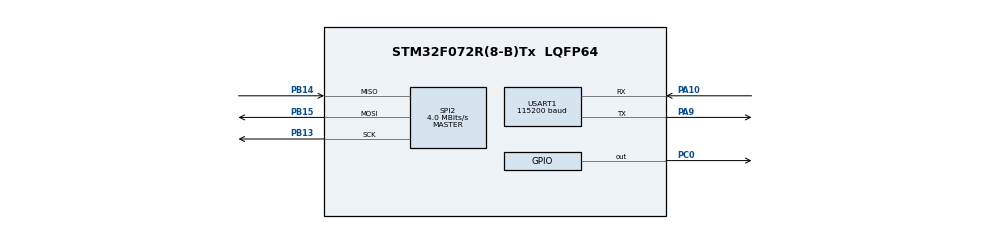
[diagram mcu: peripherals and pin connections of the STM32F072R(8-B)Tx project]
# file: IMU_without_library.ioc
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Mcu.Family=STM32F0
Mcu.Name=STM32F072R(8-B)Tx
Mcu.Package=LQFP64
NVIC.USART1_IRQn=true\:0\:0\:false\:false\:true\:true\:true\:true
PA10.Mode=Asynchronous
PA10.Signal=USART1_RX
PA9.Mode=Asynchronous
PA9.Signal=USART1_TX
PB13.Mode=Full_Duplex_Master
PB13.Signal=SPI2_SCK
PB14.Mode=Full_Duplex_Master
PB14.Signal=SPI2_MISO
PB15.Mode=Full_Duplex_Master
PB15.Signal=SPI2_MOSI
PC0.Signal=GPIO_Output
ProjectManager.HeapSize=0x200
ProjectManager.StackSize=0x400
ProjectManager.TargetToolchain=STM32CubeIDE
SPI2.CalculateBaudRate=4.0 MBits/s
SPI2.DataSize=SPI_DATASIZE_8BIT
SPI2.Direction=SPI_DIRECTION_2LINES
SPI2.Mode=SPI_MODE_MASTER
SPI2.VirtualType=VM_MASTER
USART1.BaudRate=115200
USART1.VirtualMode-Asynchronous=VM_ASYNC
board=custom

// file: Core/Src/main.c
/* USER CODE BEGIN Header */
/**
  ******************************************************************************
  * @file           : main.c
  * @brief          : Main program body
  ******************************************************************************
  * @attention
  *
  * Copyright (c) 2023 STMicroelectronics.
  * All rights reserved.
  *
  * This software is licensed under terms that can be found in the LICENSE file
  * in the root directory of this software component.
  * If no LICENSE file comes with this software, it is provided AS-IS.
  *
  ******************************************************************************
  */
/* USER CODE END Header */
#include "main.h"

/* USER CODE BEGIN Includes */
#include <string.h>
#include <stdio.h>
/* USER CODE END Includes */

SPI_HandleTypeDef hspi2;

UART_HandleTypeDef huart1;

/* USER CODE BEGIN PV */
void delay(volatile uint32_t count) {
    while(count--);
}

uint8_t SPI_WriteReadByte(SPI_HandleTypeDef *hspi, uint8_t data) {
    uint8_t rx_data;
    HAL_SPI_TransmitReceive(hspi, &data, &rx_data, 1, 100);
    return rx_data;
}

void L3GD20_Init(SPI_HandleTypeDef *hspi, GPIO_TypeDef *CS_GPIO_Port, uint16_t CS_Pin) {
    HAL_GPIO_WritePin(CS_GPIO_Port, CS_Pin, GPIO_PIN_RESET);
    delay(1000);

    uint8_t ctrl1 = 0x0F;
    SPI_WriteReadByte(hspi, 0x20);
    SPI_WriteReadByte(hspi, ctrl1);

    HAL_GPIO_WritePin(CS_GPIO_Port, CS_Pin, GPIO_PIN_SET);
    delay(1000);
}

void L3GD20_ReadGyro(SPI_HandleTypeDef *hspi, GPIO_TypeDef *CS_GPIO_Port, uint16_t CS_Pin, int16_t *gx, int16_t *gy, int16_t *gz) {
    uint8_t raw_data[6];

    HAL_GPIO_WritePin(CS_GPIO_Port, CS_Pin, GPIO_PIN_RESET);
    delay(1000);

    SPI_WriteReadByte(hspi, 0x80 | 0x28);
    for(int i = 0; i < 6; i++) {
        raw_data[i] = SPI_WriteReadByte(hspi, 0x00);
    }

    HAL_GPIO_WritePin(CS_GPIO_Port, CS_Pin, GPIO_PIN_SET);
    delay(1000);

    *gx = (int16_t)(raw_data[1] << 8 | raw_data[0]);
    *gy = (int16_t)(raw_data[3] << 8 | raw_data[2]);
    *gz = (int16_t)(raw_data[5] << 8 | raw_data[4]);
}

/* USER CODE END PV */

void SystemClock_Config(void);
static void MX_GPIO_Init(void);
static void MX_SPI2_Init(void);
static void MX_USART1_UART_Init(void);

int main(void)
{

  /* MCU Configuration--------------------------------------------------------*/

  /* Reset of all peripherals, Initializes the Flash interface and the Systick. */
  HAL_Init();

  /* Configure the system clock */
  SystemClock_Config();

  /* Initialize all configured peripherals */
  MX_GPIO_Init();
  MX_SPI2_Init();
  MX_USART1_UART_Init();
  /* USER CODE BEGIN 2 */
  L3GD20_Init(&hspi2, GPIOC, GPIO_PIN_0);

  /* USER CODE END 2 */

  /* Infinite loop */
  while (1)
  {

    /* USER CODE BEGIN 3 */
	  int16_t gx, gy, gz;
	      L3GD20_ReadGyro(&hspi2, GPIOC, GPIO_PIN_0, &gx, &gy, &gz);

	      char buffer[64];
	      snprintf(buffer, sizeof(buffer), "Gyro X: %d, Gyro Y: %d, Gyro Z: %d\r\n", gx, gy, gz);
	      HAL_UART_Transmit(&huart1, (uint8_t *)buffer, strlen(buffer), 100);

	      HAL_Delay(500); // Delay to reduce the data update rate
  }
  /* USER CODE END 3 */
}

void SystemClock_Config(void)
{
  RCC_OscInitTypeDef RCC_OscInitStruct = {0};
  RCC_ClkInitTypeDef RCC_ClkInitStruct = {0};
  RCC_PeriphCLKInitTypeDef PeriphClkInit = {0};

  /** Initializes the RCC Oscillators according to the specified parameters
  * in the RCC_OscInitTypeDef structure.
  */
  RCC_OscInitStruct.OscillatorType = RCC_OSCILLATORTYPE_HSI;
  RCC_OscInitStruct.HSIState = RCC_HSI_ON;
  RCC_OscInitStruct.HSICalibrationValue = RCC_HSICALIBRATION_DEFAULT;
  RCC_OscInitStruct.PLL.PLLState = RCC_PLL_NONE;
  if (HAL_RCC_OscConfig(&RCC_OscInitStruct) != HAL_OK)
  {
    Error_Handler();
  }

  /** Initializes the CPU, AHB and APB buses clocks
  */
  RCC_ClkInitStruct.ClockType = RCC_CLOCKTYPE_HCLK|RCC_CLOCKTYPE_SYSCLK
                              |RCC_CLOCKTYPE_PCLK1;
  RCC_ClkInitStruct.SYSCLKSource = RCC_SYSCLKSOURCE_HSI;
  RCC_ClkInitStruct.AHBCLKDivider = RCC_SYSCLK_DIV1;
  RCC_ClkInitStruct.APB1CLKDivider = RCC_HCLK_DIV1;

  if (HAL_RCC_ClockConfig(&RCC_ClkInitStruct, FLASH_LATENCY_0) != HAL_OK)
  {
    Error_Handler();
  }
  PeriphClkInit.PeriphClockSelection = RCC_PERIPHCLK_USART1;
  PeriphClkInit.Usart1ClockSelection = RCC_USART1CLKSOURCE_PCLK1;
  if (HAL_RCCEx_PeriphCLKConfig(&PeriphClkInit) != HAL_OK)
  {
    Error_Handler();
  }
}

static void MX_SPI2_Init(void)
{

  /* SPI2 parameter configuration*/
  hspi2.Instance = SPI2;
  hspi2.Init.Mode = SPI_MODE_MASTER;
  hspi2.Init.Direction = SPI_DIRECTION_2LINES;
  hspi2.Init.DataSize = SPI_DATASIZE_8BIT;
  hspi2.Init.CLKPolarity = SPI_POLARITY_LOW;
  hspi2.Init.CLKPhase = SPI_PHASE_1EDGE;
  hspi2.Init.NSS = SPI_NSS_SOFT;
  hspi2.Init.BaudRatePrescaler = SPI_BAUDRATEPRESCALER_2;
  hspi2.Init.FirstBit = SPI_FIRSTBIT_MSB;
  hspi2.Init.TIMode = SPI_TIMODE_DISABLE;
  hspi2.Init.CRCCalculation = SPI_CRCCALCULATION_DISABLE;
  hspi2.Init.CRCPolynomial = 7;
  hspi2.Init.CRCLength = SPI_CRC_LENGTH_DATASIZE;
  hspi2.Init.NSSPMode = SPI_NSS_PULSE_ENABLE;
  if (HAL_SPI_Init(&hspi2) != HAL_OK)
  {
    Error_Handler();
  }

}

static void MX_USART1_UART_Init(void)
{

  huart1.Instance = USART1;
  huart1.Init.BaudRate = 115200;
  huart1.Init.WordLength = UART_WORDLENGTH_8B;
  huart1.Init.StopBits = UART_STOPBITS_1;
  huart1.Init.Parity = UART_PARITY_NONE;
  huart1.Init.Mode = UART_MODE_TX_RX;
  huart1.Init.HwFlowCtl = UART_HWCONTROL_NONE;
  huart1.Init.OverSampling = UART_OVERSAMPLING_16;
  huart1.Init.OneBitSampling = UART_ONE_BIT_SAMPLE_DISABLE;
  huart1.AdvancedInit.AdvFeatureInit = UART_ADVFEATURE_NO_INIT;
  if (HAL_UART_Init(&huart1) != HAL_OK)
  {
    Error_Handler();
  }

}

static void MX_GPIO_Init(void)
{
  GPIO_InitTypeDef GPIO_InitStruct = {0};

  /* GPIO Ports Clock Enable */
  __HAL_RCC_GPIOC_CLK_ENABLE();
  __HAL_RCC_GPIOB_CLK_ENABLE();
  __HAL_RCC_GPIOA_CLK_ENABLE();

  /*Configure GPIO pin Output Level */
  HAL_GPIO_WritePin(GPIOC, GPIO_PIN_0, GPIO_PIN_RESET);

  /*Configure GPIO pin : PC0 */
  GPIO_InitStruct.Pin = GPIO_PIN_0;
  GPIO_InitStruct.Mode = GPIO_MODE_OUTPUT_PP;
  GPIO_InitStruct.Pull = GPIO_NOPULL;
  GPIO_InitStruct.Speed = GPIO_SPEED_FREQ_LOW;
  HAL_GPIO_Init(GPIOC, &GPIO_InitStruct);

}

void Error_Handler(void)
{
  __disable_irq();
  while (1)
  {
  }
}
